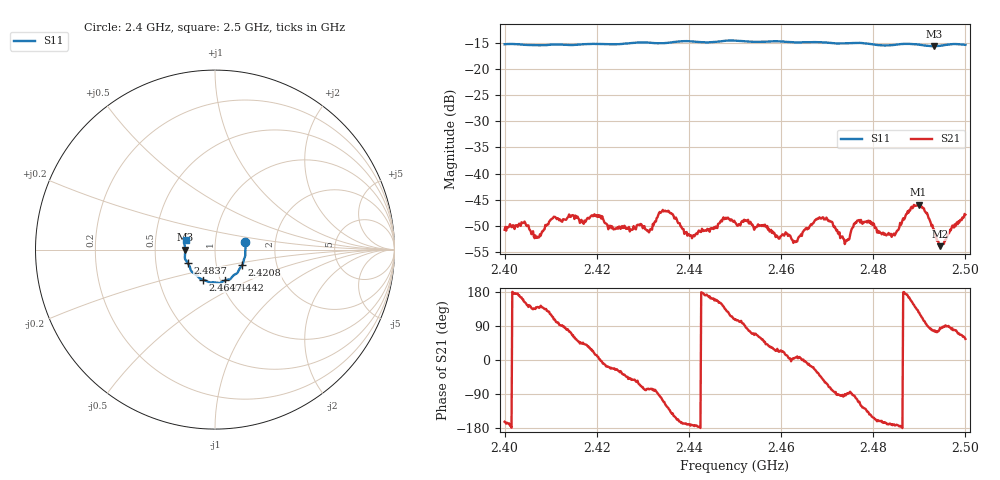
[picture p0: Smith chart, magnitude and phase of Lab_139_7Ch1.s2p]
# Hz S RI R 50
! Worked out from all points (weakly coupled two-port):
!   601 points, 2.4 GHz to 2.5 GHz, reference 50 ohm
!   highest |S21| = -45.96 dB at 2.4898 GHz (marker M1); lowest = -53.9 dB at 2.4945 GHz (marker M2)
!   lowest |S11| = -15.6 dB at 2.4932 GHz (marker M3), VSWR 1.40, Z = 35.8 - j0.0919 ohm
!   |S11| at or under -10 dB: start of sweep to end of sweep
!   S12 and S22 are empty: the file has one direction only
!   S11 on the Smith chart (normalised r, x): 2.4 GHz: 1.40, +0.12; 2.4208 GHz: 1.33, -0.24; 2.4442 GHz: 1.05, -0.37; 2.4647 GHz: 0.83, -0.29; 2.4837 GHz: 0.73, -0.11; 2.5 GHz: 0.72, +0.08
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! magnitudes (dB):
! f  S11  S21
! 2.4 GHz  -15.2  -50.7
! 2.4042 GHz  -15.3  -49.4
! 2.407 GHz  -15.4  -52.3
! 2.4105 GHz  -15.3  -48.5
! 2.4167 GHz  -15.2  -48.8
! 2.4208 GHz  -15.2  -48.1
! 2.431 GHz  -14.9  -51.0
! 2.4333 GHz  -15.0  -47.9
! 2.4402 GHz  -14.7  -51.9
! 2.4442 GHz  -14.9  -50.7
! 2.45 GHz  -14.5  -49.3
! 2.4647 GHz  -14.9  -51.2
! 2.4667 GHz  -14.8  -49.8
! 2.4695 GHz  -14.9  -48.7
! 2.4742 GHz  -15.1  -52.7
! 2.4768 GHz  -15.0  -48.9
! 2.4833 GHz  -15.5  -51.4
! 2.4837 GHz  -15.4  -51.7
! 2.4898 GHz  -15.3  -46.0
! 2.4932 GHz  -15.6  -50.6
! 2.4945 GHz  -15.5  -53.9
! 2.5 GHz  -15.3  -47.9
